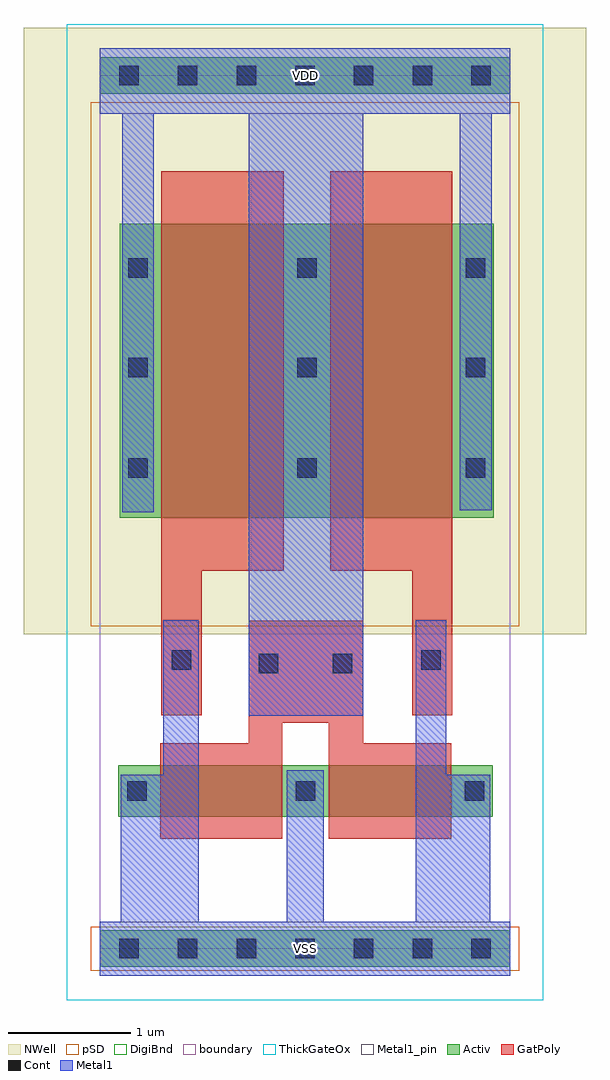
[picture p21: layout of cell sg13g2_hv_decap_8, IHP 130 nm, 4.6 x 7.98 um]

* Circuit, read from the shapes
.subckt sg13g2_hv_decap_8 VDD VSS
XM1 VSS VDD VSS VSS sg13_hv_nmos w=0.42u l=1u m=2
XM2 VDD VSS VDD VDD sg13_hv_pmos w=2.4u l=1u m=2
.ends

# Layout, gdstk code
import gdstk
lib = gdstk.Library(unit=1e-6, precision=1e-09)
def R(c, l, rs):  # rectangles x0, y0, x1, y1
    for r in rs: c.add(gdstk.rectangle(r[:2], r[2:], *l))
def A(c, l, x, y, w, h, nx, ny, dx, dy):  # array of equal rectangles
    R(c, l, [(x+i*dx, y+j*dy, x+i*dx+w, y+j*dy+h) for i in range(nx) for j in range(ny)])
def P(c, l, *ps):  # polygons
    for p in ps: c.add(gdstk.Polygon(p, *l))
Activ = (1, 0)
GatPoly = (5, 0)
Cont = (6, 0)
Metal1 = (8, 0)
Metal1_pin = (8, 2)
pSD = (14, 0)
DigiBnd = (16, 0)
NWell = (31, 0)
ThickGateOx = (44, 0)
boundary = (189, 4)

sg13g2_hv_decap_8 = lib.new_cell('sg13g2_hv_decap_8')
R(sg13g2_hv_decap_8, Activ, [(0,-0.15,3.36,0.15), (0.155,1.08,3.215,1.5), (0.165,3.525,3.225,5.925), (0,6.99,3.36,7.29)])
P(sg13g2_hv_decap_8, GatPoly, [(0.495,0.9),(0.495,1.68),(1.22,1.68),(1.22,2.68),(2.155,2.68),(2.155,1.68),(2.875,1.68),(2.875,0.9),(1.875,0.9),(1.875,1.845),(1.495,1.845),(1.495,0.9)],
  [(2.555,1.91),(2.555,3.09),(1.885,3.09),(1.885,6.355),(2.885,6.355),(2.885,1.91)],
  [(0.505,1.91),(0.505,6.355),(1.505,6.355),(1.505,3.09),(0.835,3.09),(0.835,1.91)])
A(sg13g2_hv_decap_8, Cont, 0.16, -0.08, 0.16, 0.16, 7, 2, 0.48, 7.14)
A(sg13g2_hv_decap_8, Cont, 0.225, 1.21, 0.16, 0.16, 3, 1, 1.38, 0)
A(sg13g2_hv_decap_8, Cont, 0.235, 3.85, 0.16, 0.16, 3, 2, 1.38, 0.82)
A(sg13g2_hv_decap_8, Cont, 0.235, 5.485, 0.16, 0.16, 3, 1, 1.38, 0)
R(sg13g2_hv_decap_8, Cont, [(1.3,2.25,1.46,2.41), (1.905,2.25,2.065,2.41), (0.59,2.28,0.75,2.44), (2.63,2.28,2.79,2.44)])
P(sg13g2_hv_decap_8, Metal1, [(0,-0.22),(0,0.22),(0.175,0.22),(0.175,1.42),(0.52,1.42),(0.52,2.685),(0.81,2.685),(0.81,0.22),(1.53,0.22),(1.53,1.46),(1.835,1.46),(1.835,0.22),(2.585,0.22),(2.585,2.685),(2.835,2.685),(2.835,1.42),(3.195,1.42),(3.195,0.22),(3.36,0.22),(3.36,-0.22)],
  [(1.22,1.905),(1.22,6.825),(0.445,6.825),(0.445,3.57),(0.185,3.57),(0.185,6.825),(0,6.825),(0,7.36),(3.36,7.36),(3.36,6.825),(3.205,6.825),(3.205,3.585),(2.945,3.585),(2.945,6.825),(2.155,6.825),(2.155,1.905)])
R(sg13g2_hv_decap_8, Metal1_pin, [(0,-0.22,3.36,0.22), (0,6.825,3.36,7.36)])
R(sg13g2_hv_decap_8, pSD, [(-0.07,-0.18,3.43,0.18), (-0.07,2.635,3.43,6.92)])
R(sg13g2_hv_decap_8, DigiBnd, [(0,0,3.36,7.14)])
R(sg13g2_hv_decap_8, NWell, [(-0.62,2.57,3.98,7.53)])
R(sg13g2_hv_decap_8, ThickGateOx, [(-0.27,-0.42,3.63,7.56)])
R(sg13g2_hv_decap_8, boundary, [(0,0,3.36,7.14)])
sg13g2_hv_decap_8.add(gdstk.Label('VDD', (1.68,7.14), layer=8, texttype=25))
sg13g2_hv_decap_8.add(gdstk.Label('VSS', (1.68,0), layer=8, texttype=25))

lib.write_gds('sg13g2_hv_decap_8.gds')
